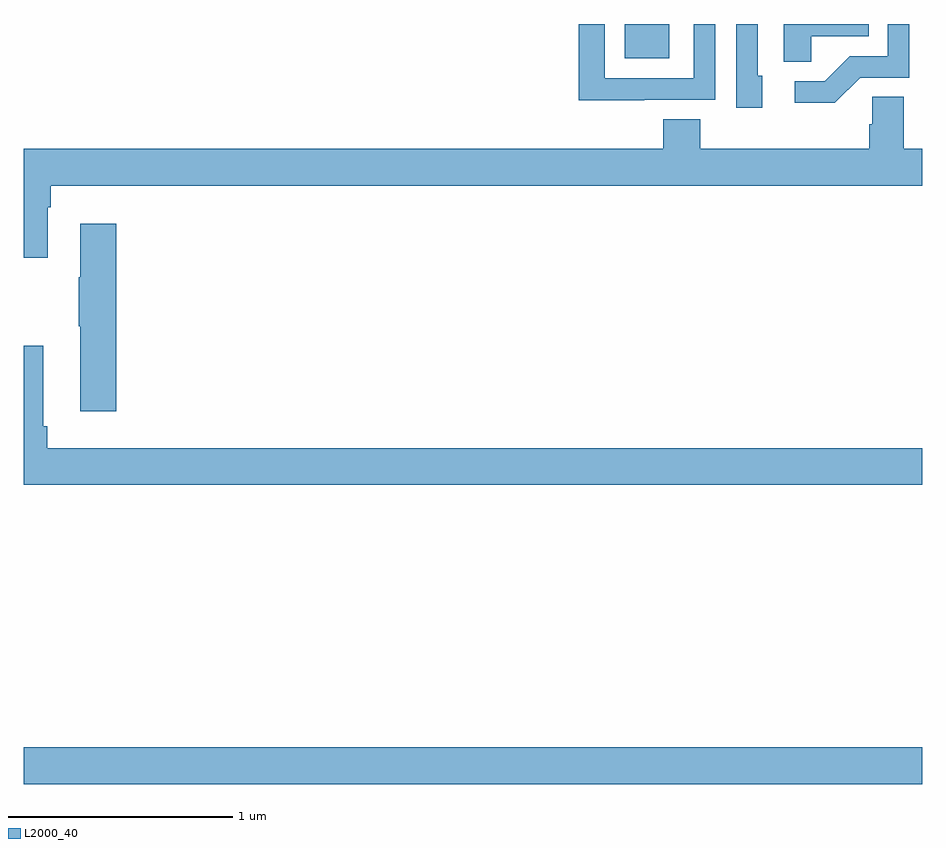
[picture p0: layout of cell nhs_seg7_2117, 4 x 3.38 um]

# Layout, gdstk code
import gdstk
lib = gdstk.Library(unit=1e-6, precision=1e-09)
def R(c, l, rs):  # rectangles x0, y0, x1, y1
    for r in rs: c.add(gdstk.rectangle(r[:2], r[2:], *l))
def P(c, l, *ps):  # polygons
    for p in ps: c.add(gdstk.Polygon(p, *l))
L2000_40 = (2000, 40)

nhs_seg7_2117 = lib.new_cell('nhs_seg7_2117')
R(nhs_seg7_2117, L2000_40, [(251,1000.616,255,1000.78), (253.676,1003.847,253.873,1004)])
P(nhs_seg7_2117, L2000_40, [(254.287,1003.77),(254.268,1003.77),(254.268,1004),(254.172,1004),(254.172,1003.626),(254.287,1003.626)],
  [(254.724,1003.761),(254.943,1003.761),(254.943,1004),(254.847,1004),(254.847,1003.857),(254.678,1003.857),(254.567,1003.746),(254.433,1003.746),(254.433,1003.649),(254.611,1003.649)],
  [(253.763,1003.662),(254.079,1003.662),(254.079,1004),(253.983,1004),(253.983,1003.758),(253.587,1003.758),(253.587,1004),(253.471,1004),(253.471,1003.661),(253.763,1003.661)],
  [(254.505,1003.946),(254.762,1003.946),(254.762,1004),(254.384,1004),(254.384,1003.831),(254.505,1003.831)],
  [(255,1003.444),(254.917,1003.444),(254.917,1003.676),(254.778,1003.676),(254.778,1003.553),(254.765,1003.553),(254.765,1003.444),(254.012,1003.444),(254.012,1003.577),(253.847,1003.577),(253.847,1003.444),(251,1003.444),(251,1002.96),(251.107,1002.96),(251.107,1003.184),(251.12,1003.184),(251.12,1003.28),(255,1003.28)],
  [(251.411,1003.111),(251.252,1003.111),(251.252,1002.872),(251.245,1002.872),(251.245,1002.655),(251.252,1002.655),(251.252,1002.276),(251.411,1002.276)],
  [(255,1002.112),(251.105,1002.112),(251.105,1002.208),(251.086,1002.208),(251.086,1002.568),(251,1002.568),(251,1001.948),(255,1001.948)])

lib.write_gds('nhs_seg7_2117.gds')
